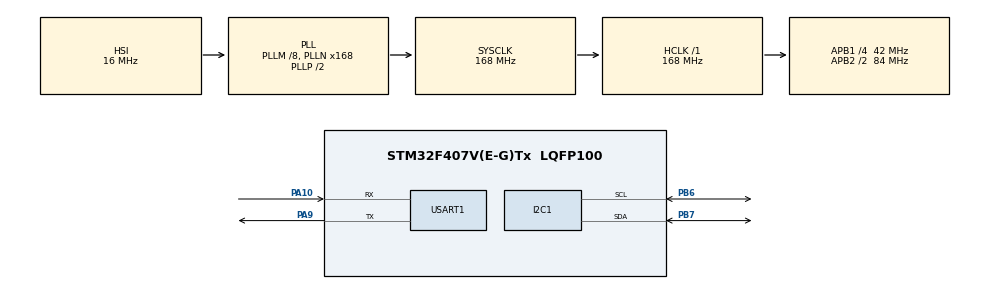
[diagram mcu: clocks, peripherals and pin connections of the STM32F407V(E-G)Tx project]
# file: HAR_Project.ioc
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Dma.Request0=USART1_TX
Dma.USART1_TX.0.Direction=DMA_MEMORY_TO_PERIPH
Dma.USART1_TX.0.FIFOMode=DMA_FIFOMODE_DISABLE
Dma.USART1_TX.0.Instance=DMA2_Stream7
Dma.USART1_TX.0.MemDataAlignment=DMA_MDATAALIGN_BYTE
Dma.USART1_TX.0.MemInc=DMA_MINC_ENABLE
Dma.USART1_TX.0.Mode=DMA_NORMAL
Dma.USART1_TX.0.PeriphDataAlignment=DMA_PDATAALIGN_BYTE
Dma.USART1_TX.0.PeriphInc=DMA_PINC_DISABLE
Dma.USART1_TX.0.Priority=DMA_PRIORITY_LOW
I2C1.I2C_Mode=I2C_Fast
Mcu.Family=STM32F4
Mcu.Name=STM32F407V(E-G)Tx
Mcu.Package=LQFP100
NVIC.DMA2_Stream7_IRQn=true\:0\:0\:false\:false\:true\:false\:true\:true
NVIC.PriorityGroup=NVIC_PRIORITYGROUP_4
NVIC.TIM8_TRG_COM_TIM14_IRQn=true\:0\:0\:false\:false\:true\:true\:true\:true
NVIC.USART1_IRQn=true\:0\:0\:false\:false\:true\:true\:true\:true
PA10.Mode=Asynchronous
PA10.Signal=USART1_RX
PA13.Mode=Serial_Wire
PA13.Signal=SYS_JTMS-SWDIO
PA14.Mode=Serial_Wire
PA14.Signal=SYS_JTCK-SWCLK
PA9.Mode=Asynchronous
PA9.Signal=USART1_TX
PB6.Mode=I2C
PB6.Signal=I2C1_SCL
PB7.Mode=I2C
PB7.Signal=I2C1_SDA
ProjectManager.HeapSize=0x200
ProjectManager.StackSize=0x400
ProjectManager.TargetToolchain=MDK-ARM V5
RCC.48MHZClocksFreq_Value=84000000
RCC.AHBFreq_Value=168000000
RCC.APB1CLKDivider=RCC_HCLK_DIV4
RCC.APB1Freq_Value=42000000
RCC.APB1TimFreq_Value=84000000
RCC.APB2CLKDivider=RCC_HCLK_DIV2
RCC.APB2Freq_Value=84000000
RCC.APB2TimFreq_Value=168000000
RCC.CortexFreq_Value=168000000
RCC.HCLKFreq_Value=168000000
RCC.HSE_VALUE=25000000
RCC.HSI_VALUE=16000000
RCC.LSE_VALUE=32768
RCC.PLLM=8
RCC.PLLN=168
RCC.SYSCLKFreq_VALUE=168000000
RCC.SYSCLKSource=RCC_SYSCLKSOURCE_PLLCLK
RCC.VCOOutputFreq_Value=336000000
TIM14.Prescaler=84-1
USART1.VirtualMode=VM_ASYNC
VP_TIM14_VS_ClockSourceINT.Mode=Enable_Timer
board=custom

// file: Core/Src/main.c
/* USER CODE BEGIN Header */
/**
  ******************************************************************************
  * @file           : main.c
  * @brief          : Main program body
  ******************************************************************************
  * @attention
  *
  * Copyright (c) 2026 STMicroelectronics.
  * All rights reserved.
  *
  * This software is licensed under terms that can be found in the LICENSE file
  * in the root directory of this software component.
  * If no LICENSE file comes with this software, it is provided AS-IS.
  *
  ******************************************************************************
  */
/* USER CODE END Header */
#include "main.h"
#include "dma.h"
#include "i2c.h"
#include "tim.h"
#include "usart.h"
#include "gpio.h"

/* USER CODE BEGIN Includes */
#include "har_config.h"
#include "uart_io.h"
#include "mpu6050.h"
#include "math.h"
#include "preprocessing.h"
/* USER CODE END Includes */

/* USER CODE BEGIN PD */
#define GYRO_CALIBRATE_SAMPLES_CNT		200U
#define IMU_DROP_LIMIT_CNT 						5U
/* USER CODE END PD */

/* USER CODE BEGIN PV */
volatile uint32_t imu_tick = 0,
									imu_served = 0,
									imu_drop_cnt = 0;
mpu6050_t imu;
static float gyro_bias[MPU6050_AXES] = {0.0f},
						 last_sample[RAW_CHANNELS] = {0};
uint32_t imu_err_cnt = 0;
/* USER CODE END PV */

void SystemClock_Config(void);
/* USER CODE BEGIN PFP */
static void IMU_Service(void);
/* USER CODE END PFP */

int main(void)
{

  /* MCU Configuration--------------------------------------------------------*/

  /* Reset of all peripherals, Initializes the Flash interface and the Systick. */
  HAL_Init();

  /* Configure the system clock */
  SystemClock_Config();

  /* Initialize all configured peripherals */
  MX_GPIO_Init();
  MX_DMA_Init();
  MX_USART1_UART_Init();
  MX_I2C1_Init();
  MX_TIM14_Init();
  /* USER CODE BEGIN 2 */
	uint8_t who = 0;

	#ifdef DEBUG_PRINT_RAW
		uart_printf("Mode: IMU_DEBUG\r\n");
	#endif

	while(MPU6050_Init(&hi2c1, &who) != HAL_OK){
		uart_printf("MPU not found\r\n");
		HAL_Delay(500);
	}
	uart_printf("WHO_AM_I = 0x%02X\r\n", who);

	uart_printf("Calibrating gyro - put the sensor STILL on the table...\r\n");
	if(MPU6050_CalibrateGyro(&hi2c1, GYRO_CALIBRATE_SAMPLES_CNT, gyro_bias) != HAL_OK)
			uart_printf("Gyro calibration FAILED.\r\n");

	uart_printf("gyro_bias bias [dps]: %.3f %.3f %.3f\r\n", gyro_bias[0], gyro_bias[1], gyro_bias[2]);

	imu_served = imu_tick;
	HAL_TIM_Base_Start_IT(&htim14);
  /* USER CODE END 2 */

  /* Infinite loop */
  while (1)
  {

    /* USER CODE BEGIN 3 */
		IMU_Service();
  }
  /* USER CODE END 3 */
}

void SystemClock_Config(void)
{
  RCC_OscInitTypeDef RCC_OscInitStruct = {0};
  RCC_ClkInitTypeDef RCC_ClkInitStruct = {0};

  /** Configure the main internal regulator output voltage
  */
  __HAL_RCC_PWR_CLK_ENABLE();
  __HAL_PWR_VOLTAGESCALING_CONFIG(PWR_REGULATOR_VOLTAGE_SCALE1);

  /** Initializes the RCC Oscillators according to the specified parameters
  * in the RCC_OscInitTypeDef structure.
  */
  RCC_OscInitStruct.OscillatorType = RCC_OSCILLATORTYPE_HSI;
  RCC_OscInitStruct.HSIState = RCC_HSI_ON;
  RCC_OscInitStruct.HSICalibrationValue = RCC_HSICALIBRATION_DEFAULT;
  RCC_OscInitStruct.PLL.PLLState = RCC_PLL_ON;
  RCC_OscInitStruct.PLL.PLLSource = RCC_PLLSOURCE_HSI;
  RCC_OscInitStruct.PLL.PLLM = 8;
  RCC_OscInitStruct.PLL.PLLN = 168;
  RCC_OscInitStruct.PLL.PLLP = RCC_PLLP_DIV2;
  RCC_OscInitStruct.PLL.PLLQ = 4;
  if (HAL_RCC_OscConfig(&RCC_OscInitStruct) != HAL_OK)
  {
    Error_Handler();
  }

  /** Initializes the CPU, AHB and APB buses clocks
  */
  RCC_ClkInitStruct.ClockType = RCC_CLOCKTYPE_HCLK|RCC_CLOCKTYPE_SYSCLK
                              |RCC_CLOCKTYPE_PCLK1|RCC_CLOCKTYPE_PCLK2;
  RCC_ClkInitStruct.SYSCLKSource = RCC_SYSCLKSOURCE_PLLCLK;
  RCC_ClkInitStruct.AHBCLKDivider = RCC_SYSCLK_DIV1;
  RCC_ClkInitStruct.APB1CLKDivider = RCC_HCLK_DIV4;
  RCC_ClkInitStruct.APB2CLKDivider = RCC_HCLK_DIV2;

  if (HAL_RCC_ClockConfig(&RCC_ClkInitStruct, FLASH_LATENCY_5) != HAL_OK)
  {
    Error_Handler();
  }
}

/* USER CODE BEGIN 4 */
static void IMU_Service(void){
	uint32_t now = imu_tick;
	uint32_t pending = now - imu_served;

	if(pending == 0U) return;
	imu_served = now;
	if(pending > IMU_DROP_LIMIT_CNT){
		imu_drop_cnt += pending - IMU_DROP_LIMIT_CNT;
		pending = IMU_DROP_LIMIT_CNT;
	}

	if(MPU6050_ReadAll(&hi2c1, &imu) == HAL_OK){
		const float *acc[MPU6050_AXES] = {&imu.ax, &imu.ay, &imu.az};
		const float *gyro[MPU6050_AXES] = {&imu.gx, &imu.gy, &imu.gz};

		for(uint32_t i = 0; i < MPU6050_AXES; i++){
			last_sample[i] = *acc[i];
			last_sample[MPU6050_AXES + i] = *gyro[i] - gyro_bias[i];
		}
	}
	else{
		imu_err_cnt++;
	}

	for(uint32_t i = 0; i < pending; i++) PP_PushSample(last_sample);

	#ifdef DEBUG_PRINT_RAW
		static uint32_t dbg = 0;
		if(++dbg >= 50U){
			dbg = 0;
			uart_printf(
				"RAW, %.3f, %.3f, %.3f, %.2f, %.2f, %.2f, err=%lu, drop=%lu\r\n",
				last_sample[0], last_sample[1], last_sample[2],
				last_sample[3], last_sample[4], last_sample[5],
				(unsigned long)imu_err_cnt, (unsigned long)imu_drop_cnt
			);
		}
	#endif
}

void HAL_TIM_PeriodElapsedCallback(TIM_HandleTypeDef *htim){
	if(htim->Instance == TIM14) imu_tick++;
}
/* USER CODE END 4 */

void Error_Handler(void)
{
  __disable_irq();
  while (1)
  {
  }
}
